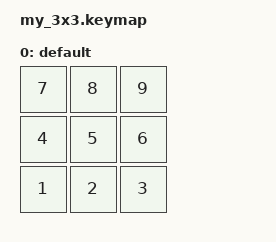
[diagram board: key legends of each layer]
#include <behaviors.dtsi>
#include <dt-bindings/zmk/keys.h>

/ {
    keymap {
        compatible = "zmk,keymap";
        default_layer {
            label = "default";
            bindings = <
                &kp N7  &kp N8  &kp N9
                &kp N4  &kp N5  &kp N6
                &kp N1  &kp N2  &kp N3
            >;
        };
    };
};
